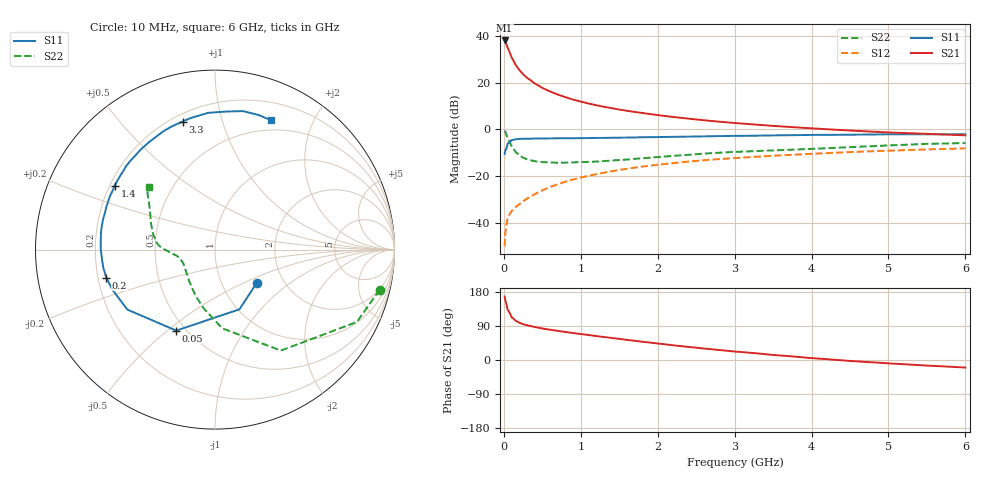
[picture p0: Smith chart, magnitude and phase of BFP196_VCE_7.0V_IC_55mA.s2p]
! (c) 2017  Infineon Technologies AG, Munich
! Infineon Technologies  Discrete & RF Semiconductors
! BFP196
! VCE =  7.0 V,  IC =  55 mA
! Common Emitter S-Parameters:  Jan 2017
# GHz  S  MA  R  50
!  f  S11  S21  S12  S22
! GHz  MAG  ANG  MAG  ANG  MAG  ANG  MAG  ANG
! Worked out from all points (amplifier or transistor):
!   77 points, 10 MHz to 6 GHz, reference 50 ohm
!   highest |S21| = 38.2 dB at 10 MHz (marker M1)
!   |S21| within 3 dB of that: start of sweep to 48.66 MHz
!   unconditionally stable (mu >= 1): 541.6 MHz to 2.393 GHz
!   at 130 MHz: K = 0.62, MSG = 31.7 dB, |S12| = -34.1 dB
!   at 2.2 GHz: K = 1.01, MAG = 9.3 dB, |S12| = -14.5 dB
!   at 6 GHz: K = 0.95, MSG = 2.8 dB, |S12| = -8.1 dB
!   S11 on the Smith chart (normalised r, x): 10 MHz: 1.47, -0.59; 50 MHz: 0.45, -0.54; 200 MHz: 0.23, -0.12; 1.4 GHz: 0.22, +0.28; 3.3 GHz: 0.24, +0.75; 6 GHz: 0.39, +1.45
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0.01  0.2975 -38.2  81.75 167.4  0.0031 80.2  0.9442 -13.7
0.02  0.3596 -67.8  77.46 156.4  0.0061 75.3  0.8875 -27.0
0.05  0.5003 -115.6  57.18 132.1  0.0125 57.7  0.6716 -56.9
0.1  0.5916 -145.6  35.58 112.9  0.0175 54.3  0.4405 -84.7
0.15  0.6134 -158.6  24.95 104.1  0.0212 54.4  0.333 -101.0
0.2  0.6258 -165.6  19.09 98.5  0.0246 58.4  0.2796 -112.7
0.25  0.6305 -170.9  15.41 94.5  0.0286 59.7  0.2477 -121.3
0.3  0.6316 -174.6  12.9 91.7  0.0324 62.2  0.2285 -128.6
0.4  0.6365 179.8  9.778 86.9  0.0404 65.1  0.2079 -138.6
0.5  0.6389 175.3  7.834 83.2  0.049 65.9  0.199 -145.9
0.6  0.6423 171.3  6.561 79.9  0.0581 66.5  0.195 -151.4
0.7  0.6444 168.2  5.629 77.0  0.0662 67.0  0.1926 -155.6
0.9  0.6461 161.9  4.383 71.2  0.084 65.9  0.1957 -161.2
1.1  0.6529 155.9  3.615 66.0  0.101 64.5  0.2011 -165.5
1.4  0.6624 147.4  2.866 58.2  0.1264 61.1  0.2147 -170.4
1.7  0.6728 139.4  2.379 50.7  0.1509 57.5  0.2331 -173.7
2.1  0.6891 129.0  1.943 41.3  0.1812 52.0  0.2625 -178.1
3.1  0.7293 107.8  1.337 20.8  0.2483 38.8  0.3339 171.3
3.3  0.7358 104.1  1.262 17.3  0.26 36.3  0.3439 168.6
4.1  0.7636 91.3  1.034 3.6  0.3047 26.6  0.3885 156.8
5.1  0.7865 77.4  0.85 -10.0  0.354 15.0  0.4605 143.4
6  0.7855 66.5  0.748 -20.0  0.392 4.9  0.5087 136.4
